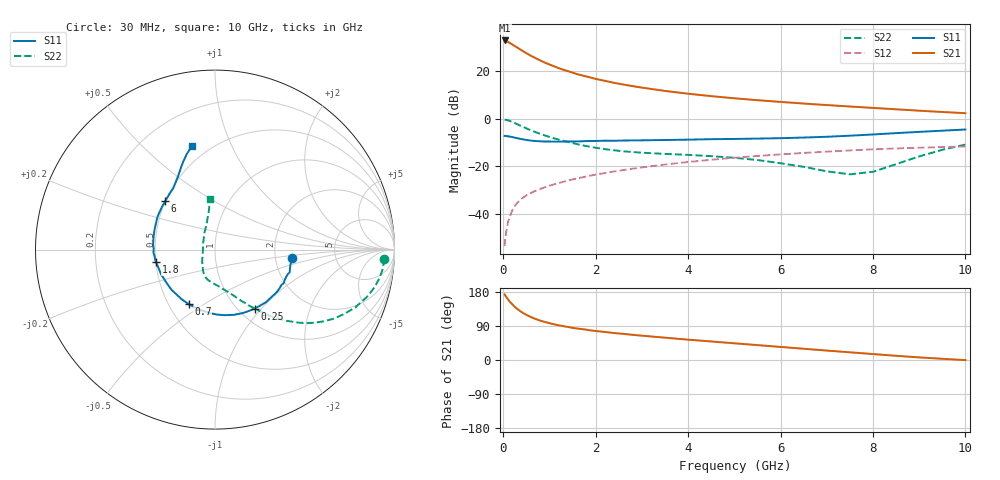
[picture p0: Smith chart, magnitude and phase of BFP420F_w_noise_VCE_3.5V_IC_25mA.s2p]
! Infineon Technologies  Discrete & RF Semiconductors
! BFP420F
! VCE =  3.5 V,  IC =  25 mA
! Common Emitter S-Parameters:  Sep 2011
# GHz  S  MA  R  50
!  f  S11  S21  S12  S22
! GHz  MAG  ANG  MAG  ANG  MAG  ANG  MAG  ANG
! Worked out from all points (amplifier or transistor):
!   54 points, 30 MHz to 10 GHz, reference 50 ohm
!   highest |S21| = 32.8 dB at 30 MHz (marker M1)
!   |S21| within 3 dB of that: start of sweep to 306.1 MHz
!   unconditionally stable (mu >= 1): 1.581 GHz to end of sweep
!   at 120 MHz: K = 0.35, MSG = 37.2 dB, |S12| = -42.4 dB
!   at 1.3 GHz: K = 0.93, MSG = 23.5 dB, |S12| = -26.5 dB
!   at 10 GHz: K = 1.23, MAG = 4.1 dB, |S12| = -11.7 dB
!   lowest NFmin = 1.66 dB at 450 MHz
!   S11 on the Smith chart (normalised r, x): 30 MHz: 2.48, -0.30; 250 MHz: 1.18, -0.92; 700 MHz: 0.63, -0.43; 1.8 GHz: 0.50, -0.08; 6 GHz: 0.50, +0.32; 10 GHz: 0.41, +0.72
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0.03  0.4316 -6.5  43.47 173.0  0.0021 80.9  0.9428 -3.1
0.07  0.4351 -16.9  42.13 165.8  0.0045 80.1  0.9347 -8.4
0.12  0.4191 -28.3  39.79 157.1  0.0076 77.9  0.9057 -14.4
0.15  0.4169 -35.2  38.11 152.8  0.0093 76.8  0.8838 -17.6
0.2  0.4082 -46.0  35.62 146.4  0.0121 73.9  0.8454 -22.4
0.25  0.3965 -56.0  33.13 140.3  0.0145 72.4  0.803 -26.6
0.35  0.3786 -73.7  28.89 130.5  0.0189 68.9  0.7246 -33.5
0.45  0.3623 -88.2  25.22 122.6  0.0226 66.8  0.6547 -38.7
0.6  0.3442 -106.2  20.73 113.3  0.0274 64.8  0.5647 -44.7
0.7  0.3373 -115.9  18.5 108.3  0.0305 64.3  0.5185 -47.8
0.9  0.3292 -131.1  14.91 100.4  0.0361 63.8  0.442 -52.7
1.1  0.3277 -142.9  12.46 94.2  0.0416 63.6  0.3847 -56.9
1.3  0.3281 -151.9  10.58 89.3  0.0471 63.5  0.3415 -60.6
1.7  0.3333 -165.6  8.057 81.6  0.0581 63.0  0.2761 -67.9
1.8  0.3365 -168.3  7.631 80.0  0.061 62.9  0.2643 -69.9
2.4  0.3418 178.8  5.604 71.1  0.0776 61.1  0.2159 -81.0
3.5  0.3545 162.0  3.799 58.9  0.1084 56.6  0.1812 -97.6
5.5  0.3797 141.1  2.428 39.3  0.1638 45.1  0.1347 -119.8
6  0.387 135.7  2.233 34.5  0.177 42.0  0.1155 -126.4
7  0.4144 124.0  1.917 24.9  0.2018 35.4  0.0781 -152.3
8.5  0.4941 112.6  1.562 11.1  0.2358 24.8  0.1101 122.2
10  0.5895 102.6  1.295 -0.3  0.2592 15.4  0.2846 95.5
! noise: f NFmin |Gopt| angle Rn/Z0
0.45  1.66  0.23  -177  0.1
0.9  1.68  0.25  -175  0.13
1.9  1.81  0.32  -166  0.14
2.4  1.87  0.32  -160  0.12
3.5  2.1  0.32  -151  0.17
